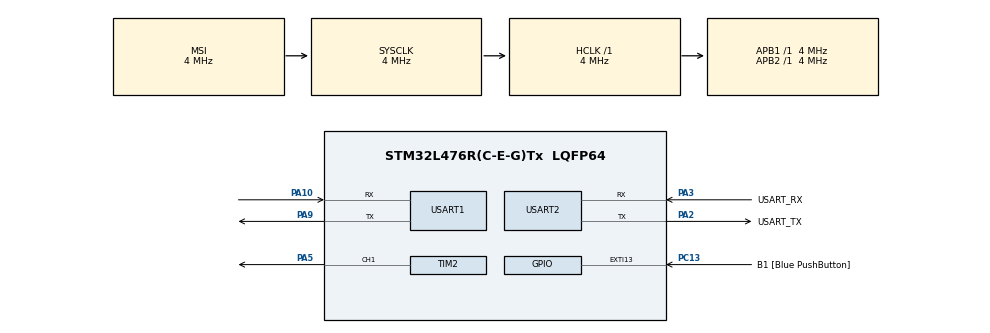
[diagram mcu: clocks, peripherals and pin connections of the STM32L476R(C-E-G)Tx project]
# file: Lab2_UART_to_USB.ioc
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Mcu.Family=STM32L4
Mcu.Name=STM32L476R(C-E-G)Tx
Mcu.Package=LQFP64
NVIC.PriorityGroup=NVIC_PRIORITYGROUP_4
NVIC.USART1_IRQn=true\:0\:0\:false\:false\:true\:true\:true\:true
NVIC.USART2_IRQn=true\:0\:0\:false\:false\:true\:true\:true\:true
PA10.Mode=Asynchronous
PA10.Signal=USART1_RX
PA13\ (JTMS-SWDIO).GPIO_Label=TMS
PA13\ (JTMS-SWDIO).Mode=Serial_Wire
PA13\ (JTMS-SWDIO).Signal=SYS_JTMS-SWDIO
PA14\ (JTCK-SWCLK).GPIO_Label=TCK
PA14\ (JTCK-SWCLK).Mode=Serial_Wire
PA14\ (JTCK-SWCLK).Signal=SYS_JTCK-SWCLK
PA2.GPIO_Label=USART_TX
PA2.GPIO_Mode=GPIO_MODE_AF_PP
PA2.GPIO_PuPd=GPIO_NOPULL
PA2.GPIO_Speed=GPIO_SPEED_FREQ_VERY_HIGH
PA2.Mode=Asynchronous
PA2.Signal=USART2_TX
PA3.GPIO_Label=USART_RX
PA3.GPIO_Mode=GPIO_MODE_AF_PP
PA3.GPIO_PuPd=GPIO_NOPULL
PA3.GPIO_Speed=GPIO_SPEED_FREQ_VERY_HIGH
PA3.Mode=Asynchronous
PA3.Signal=USART2_RX
PA5.Signal=S_TIM2_CH1
PA9.Mode=Asynchronous
PA9.Signal=USART1_TX
PB3\ (JTDO-TRACESWO).GPIO_Label=SWO
PB3\ (JTDO-TRACESWO).Signal=SYS_JTDO-SWO
PC13.GPIO_Label=B1 [Blue PushButton]
PC13.GPIO_ModeDefaultEXTI=GPIO_MODE_IT_FALLING
PC13.GPIO_PuPd=GPIO_NOPULL
PC13.Signal=GPXTI13
PC14-OSC32_IN\ (PC14).Mode=LSE-External-Oscillator
PC14-OSC32_IN\ (PC14).Signal=RCC_OSC32_IN
PC15-OSC32_OUT\ (PC15).Mode=LSE-External-Oscillator
PC15-OSC32_OUT\ (PC15).Signal=RCC_OSC32_OUT
PH0-OSC_IN\ (PH0).Signal=RCC_OSC_IN
PH1-OSC_OUT\ (PH1).Signal=RCC_OSC_OUT
ProjectManager.HeapSize=0x200
ProjectManager.StackSize=0x400
ProjectManager.TargetToolchain=STM32CubeIDE
RCC.ADCFreq_Value=16000000
RCC.AHBFreq_Value=4000000
RCC.APB1Freq_Value=4000000
RCC.APB1TimFreq_Value=4000000
RCC.APB2Freq_Value=4000000
RCC.APB2TimFreq_Value=4000000
RCC.CortexFreq_Value=4000000
RCC.HCLKFreq_Value=4000000
RCC.HSE_VALUE=8000000
RCC.HSI_VALUE=16000000
RCC.MSI_VALUE=4000000
RCC.PLLN=10
RCC.PREFETCH_ENABLE=1
RCC.SYSCLKFreq_VALUE=4000000
RCC.USBFreq_Value=16000000
RCC.VCOOutputFreq_Value=40000000
SH.S_TIM2_CH1.0=TIM2_CH1,PWM Generation1 CH1
TIM2.Channel-PWM\ Generation1\ CH1=TIM_CHANNEL_1
TIM2.Period=1000
TIM2.Prescaler=4000
TIM2.Pulse-PWM\ Generation1\ CH1=500
USART1.VirtualMode-Asynchronous=VM_ASYNC
USART2.VirtualMode-Asynchronous=VM_ASYNC
VP_TIM2_VS_ClockSourceINT.Mode=Internal
board=NUCLEO-L476RG

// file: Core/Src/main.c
/* USER CODE BEGIN Header */
/**
  ******************************************************************************
  * @file           : main.c
  * @brief          : Main program body
  ******************************************************************************
  * @attention
  *
  * Copyright (c) 2023 STMicroelectronics.
  * All rights reserved.
  *
  * This software is licensed under terms that can be found in the LICENSE file
  * in the root directory of this software component.
  * If no LICENSE file comes with this software, it is provided AS-IS.
  *
  ******************************************************************************
  */
/* USER CODE END Header */
#include "main.h"

TIM_HandleTypeDef htim2;

UART_HandleTypeDef huart1;
UART_HandleTypeDef huart2;

/* USER CODE BEGIN PV */
uint8_t rxData[20];
uint8_t txData[20] = "Hello World";
/* USER CODE END PV */

void SystemClock_Config(void);
static void MX_GPIO_Init(void);
static void MX_USART2_UART_Init(void);
static void MX_USART1_UART_Init(void);
static void MX_TIM2_Init(void);

/* USER CODE BEGIN 0 */
int basePeriod = 1000;
int currPeriod = 1000;
/* USER CODE END 0 */

int main(void)
{

  /* MCU Configuration--------------------------------------------------------*/

  /* Reset of all peripherals, Initializes the Flash interface and the Systick. */
  HAL_Init();

  /* Configure the system clock */
  SystemClock_Config();

  /* Initialize all configured peripherals */
  MX_GPIO_Init();
  MX_USART2_UART_Init();
  MX_USART1_UART_Init();
  MX_TIM2_Init();
  /* USER CODE BEGIN 2 */
  //HAL_StatusTypeDef HAL_UART_Receive_IT(UART_HandleTypeDef *huart, uint8_t *pData, uint16_t Size)
  HAL_UART_Receive_IT(&huart1, rxData, 1);

  //HAL_StatusTypeDef HAL_UART_Transmit_IT(UART_HandleTypeDef *huart, const uint8_t *pData, uint16_t Size)
  HAL_UART_Transmit_IT(&huart1, txData, 1);

  HAL_TIM_PWM_Start( &htim2, TIM_CHANNEL_1);//Start the PWM Signal

  /* USER CODE END 2 */

  /* Infinite loop */
  while (1){

  }
}

void SystemClock_Config(void)
{
  RCC_OscInitTypeDef RCC_OscInitStruct = {0};
  RCC_ClkInitTypeDef RCC_ClkInitStruct = {0};

  /** Configure the main internal regulator output voltage
  */
  if (HAL_PWREx_ControlVoltageScaling(PWR_REGULATOR_VOLTAGE_SCALE1) != HAL_OK)
  {
    Error_Handler();
  }

  /** Configure LSE Drive Capability
  */
  HAL_PWR_EnableBkUpAccess();
  __HAL_RCC_LSEDRIVE_CONFIG(RCC_LSEDRIVE_LOW);

  /** Initializes the RCC Oscillators according to the specified parameters
  * in the RCC_OscInitTypeDef structure.
  */
  RCC_OscInitStruct.OscillatorType = RCC_OSCILLATORTYPE_LSE|RCC_OSCILLATORTYPE_MSI;
  RCC_OscInitStruct.LSEState = RCC_LSE_ON;
  RCC_OscInitStruct.MSIState = RCC_MSI_ON;
  RCC_OscInitStruct.MSICalibrationValue = 0;
  RCC_OscInitStruct.MSIClockRange = RCC_MSIRANGE_6;
  RCC_OscInitStruct.PLL.PLLState = RCC_PLL_NONE;
  if (HAL_RCC_OscConfig(&RCC_OscInitStruct) != HAL_OK)
  {
    Error_Handler();
  }

  /** Initializes the CPU, AHB and APB buses clocks
  */
  RCC_ClkInitStruct.ClockType = RCC_CLOCKTYPE_HCLK|RCC_CLOCKTYPE_SYSCLK
                              |RCC_CLOCKTYPE_PCLK1|RCC_CLOCKTYPE_PCLK2;
  RCC_ClkInitStruct.SYSCLKSource = RCC_SYSCLKSOURCE_MSI;
  RCC_ClkInitStruct.AHBCLKDivider = RCC_SYSCLK_DIV1;
  RCC_ClkInitStruct.APB1CLKDivider = RCC_HCLK_DIV1;
  RCC_ClkInitStruct.APB2CLKDivider = RCC_HCLK_DIV1;

  if (HAL_RCC_ClockConfig(&RCC_ClkInitStruct, FLASH_LATENCY_0) != HAL_OK)
  {
    Error_Handler();
  }

  /** Enable MSI Auto calibration
  */
  HAL_RCCEx_EnableMSIPLLMode();
}

static void MX_TIM2_Init(void)
{

  TIM_ClockConfigTypeDef sClockSourceConfig = {0};
  TIM_MasterConfigTypeDef sMasterConfig = {0};
  TIM_OC_InitTypeDef sConfigOC = {0};

  htim2.Instance = TIM2;
  htim2.Init.Prescaler = 4000;
  htim2.Init.CounterMode = TIM_COUNTERMODE_UP;
  htim2.Init.Period = 1000;
  htim2.Init.ClockDivision = TIM_CLOCKDIVISION_DIV1;
  htim2.Init.AutoReloadPreload = TIM_AUTORELOAD_PRELOAD_DISABLE;
  if (HAL_TIM_Base_Init(&htim2) != HAL_OK)
  {
    Error_Handler();
  }
  sClockSourceConfig.ClockSource = TIM_CLOCKSOURCE_INTERNAL;
  if (HAL_TIM_ConfigClockSource(&htim2, &sClockSourceConfig) != HAL_OK)
  {
    Error_Handler();
  }
  if (HAL_TIM_PWM_Init(&htim2) != HAL_OK)
  {
    Error_Handler();
  }
  sMasterConfig.MasterOutputTrigger = TIM_TRGO_RESET;
  sMasterConfig.MasterSlaveMode = TIM_MASTERSLAVEMODE_DISABLE;
  if (HAL_TIMEx_MasterConfigSynchronization(&htim2, &sMasterConfig) != HAL_OK)
  {
    Error_Handler();
  }
  sConfigOC.OCMode = TIM_OCMODE_PWM1;
  sConfigOC.Pulse = 500;
  sConfigOC.OCPolarity = TIM_OCPOLARITY_HIGH;
  sConfigOC.OCFastMode = TIM_OCFAST_DISABLE;
  if (HAL_TIM_PWM_ConfigChannel(&htim2, &sConfigOC, TIM_CHANNEL_1) != HAL_OK)
  {
    Error_Handler();
  }
  HAL_TIM_MspPostInit(&htim2);

}

static void MX_USART1_UART_Init(void)
{

  huart1.Instance = USART1;
  huart1.Init.BaudRate = 115200;
  huart1.Init.WordLength = UART_WORDLENGTH_8B;
  huart1.Init.StopBits = UART_STOPBITS_1;
  huart1.Init.Parity = UART_PARITY_NONE;
  huart1.Init.Mode = UART_MODE_TX_RX;
  huart1.Init.HwFlowCtl = UART_HWCONTROL_NONE;
  huart1.Init.OverSampling = UART_OVERSAMPLING_16;
  huart1.Init.OneBitSampling = UART_ONE_BIT_SAMPLE_DISABLE;
  huart1.AdvancedInit.AdvFeatureInit = UART_ADVFEATURE_NO_INIT;
  if (HAL_UART_Init(&huart1) != HAL_OK)
  {
    Error_Handler();
  }

}

static void MX_USART2_UART_Init(void)
{

  huart2.Instance = USART2;
  huart2.Init.BaudRate = 115200;
  huart2.Init.WordLength = UART_WORDLENGTH_8B;
  huart2.Init.StopBits = UART_STOPBITS_1;
  huart2.Init.Parity = UART_PARITY_NONE;
  huart2.Init.Mode = UART_MODE_TX_RX;
  huart2.Init.HwFlowCtl = UART_HWCONTROL_NONE;
  huart2.Init.OverSampling = UART_OVERSAMPLING_16;
  huart2.Init.OneBitSampling = UART_ONE_BIT_SAMPLE_DISABLE;
  huart2.AdvancedInit.AdvFeatureInit = UART_ADVFEATURE_NO_INIT;
  if (HAL_UART_Init(&huart2) != HAL_OK)
  {
    Error_Handler();
  }

}

static void MX_GPIO_Init(void)
{
  GPIO_InitTypeDef GPIO_InitStruct = {0};

  /* GPIO Ports Clock Enable */
  __HAL_RCC_GPIOC_CLK_ENABLE();
  __HAL_RCC_GPIOH_CLK_ENABLE();
  __HAL_RCC_GPIOA_CLK_ENABLE();
  __HAL_RCC_GPIOB_CLK_ENABLE();

  /*Configure GPIO pin : B1_Pin */
  GPIO_InitStruct.Pin = B1_Pin;
  GPIO_InitStruct.Mode = GPIO_MODE_IT_FALLING;
  GPIO_InitStruct.Pull = GPIO_NOPULL;
  HAL_GPIO_Init(B1_GPIO_Port, &GPIO_InitStruct);

}

/* USER CODE BEGIN 4 */
void HAL_UART_RxCpltCallback(UART_HandleTypeDef *huart){

	//Re-enable UART RX interrupt
	//HAL_StatusTypeDef HAL_UART_Receive_IT(UART_HandleTypeDef *huart, uint8_t *pData, uint16_t Size)
	HAL_UART_Receive_IT(&huart1, rxData, 1);

	//Toggle LED UART Test
//	if(rxData[0] == '1'){
//		HAL_GPIO_TogglePin(GPIOA, GPIO_PIN_5);
//	}

	if (rxData[0] == 'u'){//Increase Tempo
		//Increase blinking tempo by 2 bpm (0.033 Hz)
		currPeriod -= (basePeriod * 0.033);
		HAL_TIM_PWM_Stop( &htim2, TIM_CHANNEL_1);	//Stop the PWM Signal
		__HAL_TIM_SET_AUTORELOAD(&htim2, currPeriod);
		TIM_OC_InitTypeDef sConfigOC;
		sConfigOC.OCMode = TIM_OCMODE_PWM1;
		sConfigOC.Pulse = currPeriod / 2;
		sConfigOC.OCPolarity = TIM_OCPOLARITY_HIGH;
		sConfigOC.OCFastMode = TIM_OCFAST_DISABLE;
		HAL_TIM_PWM_ConfigChannel(&htim2, &sConfigOC, TIM_CHANNEL_1);
		HAL_TIM_PWM_Start( &htim2, TIM_CHANNEL_1);//Restart the PWM Signal
	}else if (rxData[0] == 'd'){//Decrease Tempo
		//Decrease blinking tempo by 2 bpm (0.033 Hz)
		currPeriod += (basePeriod * 0.033);
		HAL_TIM_PWM_Stop( &htim2, TIM_CHANNEL_1);	//Stop the PWM Signal
		__HAL_TIM_SET_AUTORELOAD(&htim2, currPeriod);
		TIM_OC_InitTypeDef sConfigOC;
		sConfigOC.OCMode = TIM_OCMODE_PWM1;
		sConfigOC.Pulse = currPeriod/2;
		sConfigOC.OCPolarity = TIM_OCPOLARITY_HIGH;
		sConfigOC.OCFastMode = TIM_OCFAST_DISABLE;
		HAL_TIM_PWM_ConfigChannel(&htim2, &sConfigOC, TIM_CHANNEL_1);
		HAL_TIM_PWM_Start( &htim2, TIM_CHANNEL_1);//Restart the PWM Signal
	}else if(rxData[0] == 'r'){
		//reset the blinking tempo to 60 bpm
		HAL_TIM_PWM_Stop( &htim2, TIM_CHANNEL_1);	//Stop the PWM Signal
		__HAL_TIM_SET_AUTORELOAD(&htim2, basePeriod);
		TIM_OC_InitTypeDef sConfigOC;
		sConfigOC.OCMode = TIM_OCMODE_PWM1;
		sConfigOC.Pulse = basePeriod / 2;
		sConfigOC.OCPolarity = TIM_OCPOLARITY_HIGH;
		sConfigOC.OCFastMode = TIM_OCFAST_DISABLE;
		HAL_TIM_PWM_ConfigChannel(&htim2, &sConfigOC, TIM_CHANNEL_1);
		HAL_TIM_PWM_Start( &htim2, TIM_CHANNEL_1);//Restart the PWM Signal
	}

	//ECHO TEST
	//HAL_StatusTypeDef HAL_UART_Transmit_IT(UART_HandleTypeDef *huart, const uint8_t *pData, uint16_t Size)
    //HAL_UART_Transmit_IT(&huart1, rxData, 1);
}

void HAL_UART_TxCpltCallback(UART_HandleTypeDef *huart){
	//Do nothing
}

/* USER CODE END 4 */

void Error_Handler(void)
{
  __disable_irq();
  while (1)
  {
  }
}
